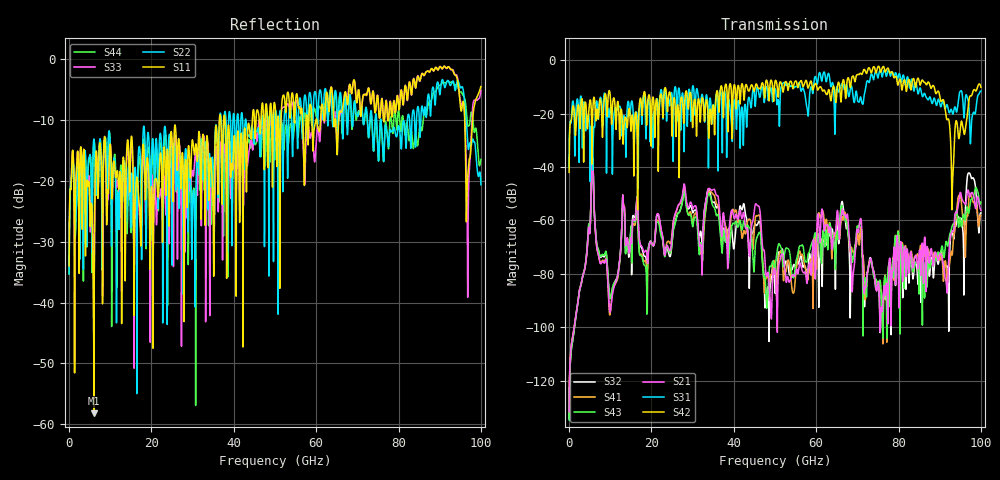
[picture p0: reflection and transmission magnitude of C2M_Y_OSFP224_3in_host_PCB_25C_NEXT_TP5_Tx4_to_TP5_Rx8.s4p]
# GHz S RI R 45
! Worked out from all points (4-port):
!   4000 points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, 25 MHz to 100 GHz, reference 45 ohm
!   strongest paths, dB at 25 MHz, 25.02 GHz, 50.02 GHz, 75.03 GHz, 100 GHz:
!     S42: -42.0, -27.8, -8.0, -2.4, -10.1
!     S31: -40.1, -12.9, -10.6, -6.6, -11.6
!     S21: -131.6, -65.5, -79.2, -83.5, -56.2
!     S43: -134.8, -67.9, -77.7, -86.0, -53.1
!     S41: -131.7, -64.9, -76.7, -85.4, -58.2
!     S32: -134.4, -68.1, -87.0, -83.0, -57.2
!   lowest |S11| = -58.2 dB at 6.05 GHz (marker M1), VSWR 1.00, Z = 44.9 + j0.0964 ohm
!   |S11| at or under -10 dB: start of sweep to 36.5 GHz; 37.88 GHz to 44.5 GHz (6.618 GHz wide, 16.1 % of centre); 96.08 GHz to 98 GHz (1.926 GHz wide, 1.98 % of centre)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
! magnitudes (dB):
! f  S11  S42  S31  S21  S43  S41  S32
! 25 MHz  -34.0  -42.0  -40.1  -131.6  -134.8  -131.7  -134.4
! 6.05 GHz  -58.2  -13.8  -24.9  -53.1  -52.8  -53.1  -52.8
! 9.9 GHz  -14.4  -11.9  -19.0  -94.2  -89.3  -95.4  -88.9
! 34.23 GHz  -17.0  -18.5  -14.2  -48.2  -50.7  -49.1  -49.5
! 76.28 GHz  -9.4  -2.4  -4.6  -89.0  -96.1  -98.7  -88.4
! 93.1 GHz  -1.8  -46.3  -19.9  -63.8  -61.8  -72.2  -64.6
! 100 GHz  -4.5  -10.1  -11.6  -56.2  -53.1  -58.2  -57.2
